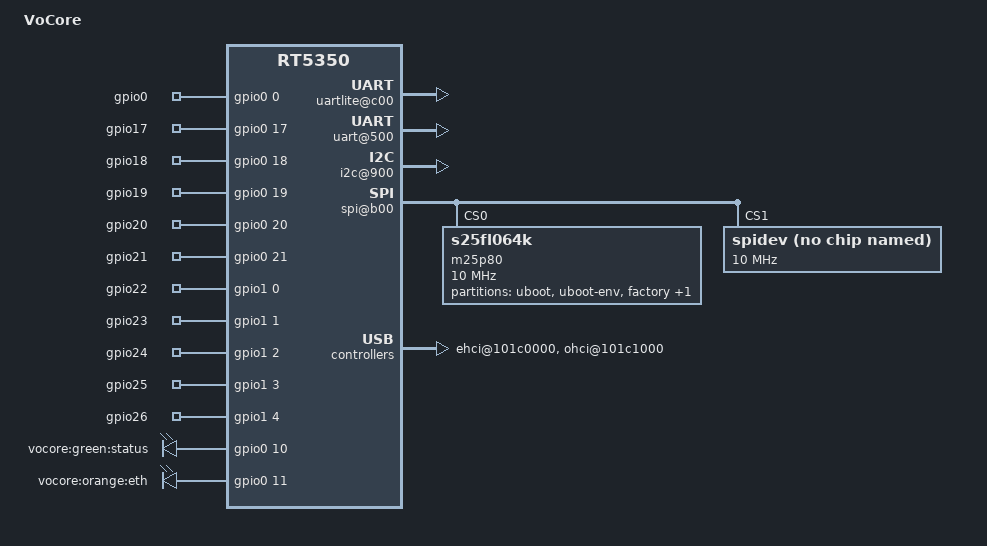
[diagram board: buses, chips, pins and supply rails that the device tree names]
/dts-v1/;

/ {
	compatible = "VoCore", "ralink,rt5350-soc";
	model = "VoCore";
	
	palmbus@10000000 {
		uartlite@c00 {
			status = "okay";
		};
	};
};
/include/ "rt5350.dtsi"

/ {
	compatible = "VoCore", "ralink,rt5350-soc";
	model = "VoCore";
	

	palmbus@10000000 {
		uart@500 {
			status = "okay";
		};
		gpio1: gpio@660 {
			status = "okay";
		};

		i2c@900 {
			status = "okay";
		};

		spi@b00 {
			status = "okay";

			m25p80@0 {
				#address-cells = <1>;
				#size-cells = <1>;
				compatible = "s25fl064k";
				reg = <0>;
				linux,modalias = "m25p80", "s25fl064k";
				spi-max-frequency = <10000000>;

				partition@0 {
					label = "uboot";
					reg = <0x0 0x30000>;
					read-only;
				};

				partition@30000 {
					label = "uboot-env";
					reg = <0x30000 0x10000>;
					read-only;
				};

				factory: partition@40000 {
					label = "factory";
					reg = <0x40000 0x10000>;
					read-only;
				};

				partition@50000 {
					label = "firmware";
					reg = <0x50000 0xfb0000>;
				};
			};

			spidev@1 {
				compatible = "linux,spidev";
				spi-max-frequency = <10000000>;
				reg = <1>;
			};
		};
	};

	pinctrl {
		state_default: pinctrl0 {
			gpio {
				ralink,group = "jtag", "led";
				ralink,function = "gpio";
			};
		};
	};

	ethernet@10100000 {
		mtd-mac-address = <&factory 0x4>;
	};

	esw@10110000 {
		ralink,portmap = <0x17>;
	};

	wmac@10180000 {
		ralink,mtd-eeprom = <&factory 0>;
	};

	ehci@101c0000 {
		status = "okay";
	};

	ohci@101c1000 {
		status = "okay";
	};

	gpio-export {
		compatible = "gpio-export";
		#size-cells = <0>;

		gpio0 {
			gpio-export,name = "gpio0";
			gpio-export,direction_may_change = <1>;
			gpios = <&gpio0 0 0>;
		};

		/* UARTF used to be here*/
		


		/* JTAG */
		gpio17 {
			/* JTAG_TDO */
			gpio-export,name = "gpio17";
			gpio-export,direction_may_change = <1>;
			gpios = <&gpio0 17 0>;
		};
		gpio18 {
			/* JTAG_TDI */
			gpio-export,name = "gpio18";
			gpio-export,direction_may_change = <1>;
			gpios = <&gpio0 18 0>;
		};
		gpio19 {
			/* JTAG_TMS */
			gpio-export,name = "gpio19";
			gpio-export,direction_may_change = <1>;
			gpios = <&gpio0 19 0>;
		};
		gpio20 {
			/* JTAG_TCLK */
			gpio-export,name = "gpio20";
			gpio-export,direction_may_change = <1>;
			gpios = <&gpio0 20 0>;
		};
		gpio21 {
			/* JTAG_TRST_N */
			gpio-export,name = "gpio21";
			gpio-export,direction_may_change = <1>;
			gpios = <&gpio0 21 0>;
		};

		/* ETH LEDs */
		gpio22 {
			/* ETH0_LED */
			gpio-export,name = "gpio22";
			gpio-export,direction_may_change = <1>;
			gpios = <&gpio1 0 0>;
		};
		gpio23 {
			/* ETH1_LED */
			gpio-export,name = "gpio23";
			gpio-export,direction_may_change = <1>;
			gpios = <&gpio1 1 0>;
		};
		gpio24 {
			/* ETH2_LED */
			gpio-export,name = "gpio24";
			gpio-export,direction_may_change = <1>;
			gpios = <&gpio1 2 0>;
		};
		gpio25 {
			/* ETH3_LED */
			gpio-export,name = "gpio25";
			gpio-export,direction_may_change = <1>;
			gpios = <&gpio1 3 0>;
		};
		gpio26 {
			/* ETH4_LED */
			gpio-export,name = "gpio26";
			gpio-export,direction_may_change = <1>;
			gpios = <&gpio1 4 0>;
		};
	};

	gpio-leds {
		compatible = "gpio-leds";
		status {
			/* UARTF_RXD */
			label = "vocore:green:status";
			gpios = <&gpio0 10 0>;
		};
		eth {
			/* UARTF_DTR_N */
			label = "vocore:orange:eth";
			gpios = <&gpio0 11 0>;
		};
	};
};
